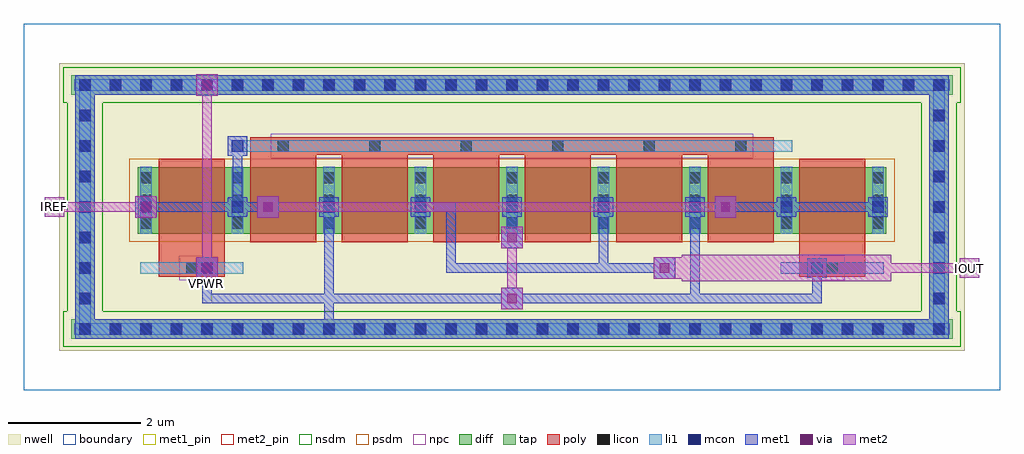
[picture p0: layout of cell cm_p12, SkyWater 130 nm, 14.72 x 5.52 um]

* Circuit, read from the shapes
.subckt cm_p12 IOUT IREF VPWR
XM1 IREF VPWR IREF VPWR sky130_fd_pr__pfet_01v8 w=1 l=1 m=2
XM2 VPWR IREF IREF VPWR sky130_fd_pr__pfet_01v8 w=1 l=1 m=2
XM3 IOUT IREF VPWR VPWR sky130_fd_pr__pfet_01v8 w=1 l=1 m=4
.ends

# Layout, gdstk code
import gdstk
lib = gdstk.Library(unit=1e-6, precision=1e-09)
def R(c, l, rs):  # rectangles x0, y0, x1, y1
    for r in rs: c.add(gdstk.rectangle(r[:2], r[2:], *l))
def A(c, l, x, y, w, h, nx, ny, dx, dy):  # array of equal rectangles
    R(c, l, [(x+i*dx, y+j*dy, x+i*dx+w, y+j*dy+h) for i in range(nx) for j in range(ny)])
nwell = (64, 20)
diff = (65, 20)
tap = (65, 44)
poly = (66, 20)
licon = (66, 44)
li1 = (67, 20)
mcon = (67, 44)
met1_pin = (68, 16)
met1 = (68, 20)
via = (68, 44)
met2_pin = (69, 16)
met2 = (69, 20)
nsdm = (93, 44)
psdm = (94, 20)
npc = (95, 20)
boundary = (235, 4)

cm_p12 = lib.new_cell('cm_p12')
R(cm_p12, nwell, [(0.535,0.595,14.185,4.925)])
R(cm_p12, diff, [(1.715,2.36,13.005,3.36)])
R(cm_p12, tap, [(0.715,0.775,14.005,1.065), (0.775,0.775,1.065,4.745), (13.655,0.775,13.945,4.745), (0.715,4.455,14.005,4.745)])
A(cm_p12, poly, 3.41, 2.23, 1, 1.45, 6, 1, 1.38, 0)
R(cm_p12, poly, [(2.03,1.705,3.03,1.975), (11.69,1.705,12.69,1.975), (2.03,1.84,3.03,3.49), (11.69,1.84,12.69,3.49), (3.41,3.545,11.31,3.815)])
A(cm_p12, licon, 0.835, 0.835, 0.17, 0.17, 29, 2, 0.46, 3.68)
A(cm_p12, licon, 0.835, 1.295, 0.17, 0.17, 1, 7, 0, 0.46)
A(cm_p12, licon, 13.715, 1.295, 0.17, 0.17, 1, 7, 0, 0.46)
A(cm_p12, licon, 1.755, 2.435, 0.17, 0.17, 9, 3, 1.38, 0.34)
A(cm_p12, licon, 3.825, 3.595, 0.17, 0.17, 6, 1, 1.38, 0)
R(cm_p12, licon, [(2.445,1.755,2.615,1.925), (12.105,1.755,12.275,1.925)])
A(cm_p12, li1, 1.755, 2.355, 0.17, 1.01, 9, 1, 1.38, 0)
R(cm_p12, li1, [(0.755,0.835,13.965,1.005), (0.835,0.835,1.005,4.685), (13.715,0.835,13.885,4.685), (1.755,1.755,3.305,1.925), (11.415,1.755,12.965,1.925), (3.135,3.595,11.585,3.765), (0.755,4.515,13.965,4.685)])
A(cm_p12, mcon, 0.835, 0.835, 0.17, 0.17, 29, 2, 0.46, 3.68)
A(cm_p12, mcon, 0.835, 1.295, 0.17, 0.17, 1, 7, 0, 0.46)
A(cm_p12, mcon, 13.715, 1.295, 0.17, 0.17, 1, 7, 0, 0.46)
A(cm_p12, mcon, 1.755, 2.675, 0.17, 0.17, 9, 1, 1.38, 0)
R(cm_p12, mcon, [(2.675,1.755,2.845,1.925), (11.875,1.755,12.045,1.925), (3.135,3.595,3.305,3.765)])
R(cm_p12, met1_pin, [(2.69,1.31,2.83,1.91)])
A(cm_p12, met1, 1.695, 2.615, 0.29, 0.29, 9, 1, 1.38, 0)
R(cm_p12, met1, [(0.775,0.775,13.945,1.065), (0.775,0.775,1.065,4.745), (13.655,0.775,13.945,4.745), (4.53,0.85,4.67,0.99), (4.53,0.85,4.67,2.83), (7.2,1.22,7.52,1.54), (2.69,1.31,4.67,1.45), (2.69,1.31,2.83,1.91), (4.53,1.31,7.43,1.45), (7.29,1.31,10.19,1.45), (10.05,1.31,12.03,1.45), (10.05,1.31,10.19,2.83), (11.89,1.31,12.03,1.91), (2.6,1.68,2.92,2), (9.5,1.68,9.82,2), (2.615,1.695,2.905,1.985), (11.815,1.695,12.105,1.985), (6.37,1.77,6.51,2.83), (6.37,1.77,8.81,1.91), (8.67,1.77,8.81,2.83), (8.67,1.77,9.73,1.91), (7.2,2.14,7.52,2.46), (7.29,2.23,7.43,2.83), (1.68,2.6,2,2.92), (3.52,2.6,3.84,2.92), (10.42,2.6,10.74,2.92), (1.77,2.69,3.29,2.83), (3.15,2.69,3.29,3.75), (3.15,2.69,3.75,2.83), (5.91,2.69,6.51,2.83), (10.51,2.69,11.57,2.83), (11.43,2.69,12.95,2.83), (3.075,3.535,3.365,3.825), (2.6,4.44,2.92,4.76), (0.775,4.455,13.945,4.745), (2.69,4.53,2.83,4.67)])
R(cm_p12, via, [(7.285,1.305,7.435,1.455), (2.685,1.765,2.835,1.915), (9.585,1.765,9.735,1.915), (7.285,2.225,7.435,2.375), (1.765,2.685,1.915,2.835), (3.605,2.685,3.755,2.835), (10.505,2.685,10.655,2.835), (2.685,4.525,2.835,4.675)])
R(cm_p12, met2_pin, [(14.11,1.69,14.41,1.99), (0.31,2.61,0.61,2.91)])
R(cm_p12, met2, [(7.2,1.22,7.52,1.54), (7.29,1.31,7.43,2.37), (9.92,1.64,13.08,2.04), (2.6,1.68,2.92,2), (9.5,1.68,9.82,2), (9.82,1.68,9.92,2), (14.11,1.69,14.41,1.99), (2.69,1.77,2.83,4.67), (9.59,1.77,10.19,1.91), (12.81,1.77,14.33,1.91), (14.19,1.77,14.33,1.91), (7.2,2.14,7.52,2.46), (1.68,2.6,2,2.92), (3.52,2.6,3.84,2.92), (10.42,2.6,10.74,2.92), (0.31,2.61,0.61,2.91), (0.39,2.69,0.53,2.83), (0.39,2.69,1.91,2.83), (3.61,2.69,10.65,2.83), (2.6,4.44,2.92,4.76)])
R(cm_p12, nsdm, [(0.59,0.65,14.13,1.19), (0.65,1.19,1.19,4.33), (13.53,1.19,14.07,4.33), (0.59,4.33,14.13,4.87)])
R(cm_p12, psdm, [(1.59,2.235,13.13,3.485)])
R(cm_p12, npc, [(2.345,1.655,2.715,2.025), (12.005,1.655,12.375,2.025), (3.725,3.495,10.995,3.865)])
R(cm_p12, boundary, [(0,0,14.72,5.52)])
cm_p12.add(gdstk.Label('VPWR', (2.76,1.61), layer=68, texttype=5))
cm_p12.add(gdstk.Label('IREF', (0.46,2.76), layer=69, texttype=5))
cm_p12.add(gdstk.Label('IOUT', (14.26,1.84), layer=69, texttype=5))
cm_p12.add(gdstk.Label('VPWR', (2.76,1.61), layer=68, texttype=16))
cm_p12.add(gdstk.Label('IREF', (0.46,2.76), layer=69, texttype=16))
cm_p12.add(gdstk.Label('IOUT', (14.26,1.84), layer=69, texttype=16))

lib.write_gds('cm_p12.gds')
